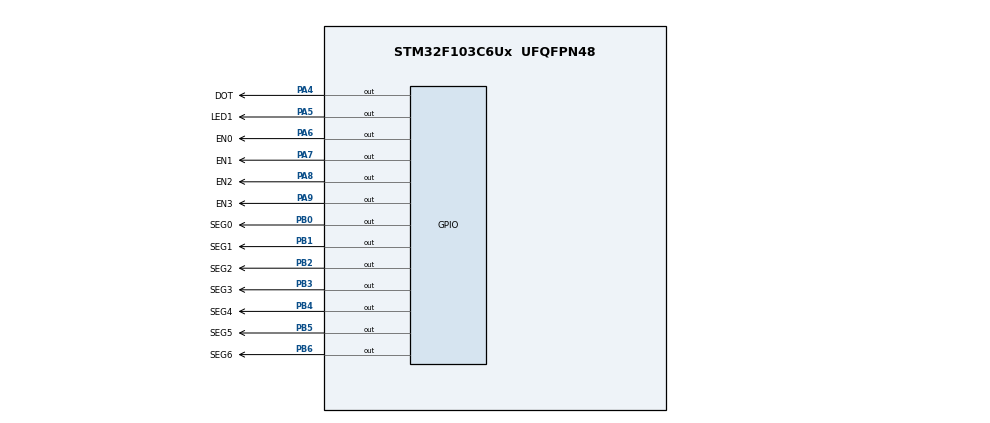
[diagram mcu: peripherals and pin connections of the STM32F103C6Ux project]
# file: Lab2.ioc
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Mcu.Family=STM32F1
Mcu.Name=STM32F103C6Ux
Mcu.Package=UFQFPN48
NVIC.PriorityGroup=NVIC_PRIORITYGROUP_4
NVIC.TIM2_IRQn=true\:0\:0\:false\:false\:true\:true\:true
PA4.GPIO_Label=DOT
PA4.Signal=GPIO_Output
PA5.GPIO_Label=LED1
PA5.Signal=GPIO_Output
PA6.GPIO_Label=EN0
PA6.Signal=GPIO_Output
PA7.GPIO_Label=EN1
PA7.Signal=GPIO_Output
PA8.GPIO_Label=EN2
PA8.Signal=GPIO_Output
PA9.GPIO_Label=EN3
PA9.Signal=GPIO_Output
PB0.GPIO_Label=SEG0
PB0.Signal=GPIO_Output
PB1.GPIO_Label=SEG1
PB1.Signal=GPIO_Output
PB2.GPIO_Label=SEG2
PB2.Signal=GPIO_Output
PB3.GPIO_Label=SEG3
PB3.Signal=GPIO_Output
PB4.GPIO_Label=SEG4
PB4.Signal=GPIO_Output
PB5.GPIO_Label=SEG5
PB5.Signal=GPIO_Output
PB6.GPIO_Label=SEG6
PB6.Signal=GPIO_Output
ProjectManager.HeapSize=0x200
ProjectManager.StackSize=0x400
ProjectManager.TargetToolchain=STM32CubeIDE
RCC.APB1Freq_Value=8000000
RCC.APB2Freq_Value=8000000
TIM2.Period=9
TIM2.Prescaler=7999
VP_SYS_VS_ND.Mode=No_Debug
VP_TIM2_VS_ClockSourceINT.Mode=Internal
board=custom

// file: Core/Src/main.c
/* USER CODE BEGIN Header */
/**
  ******************************************************************************
  * @file           : main.c
  * @brief          : Main program body
  ******************************************************************************
  * @attention
  *
  * <h2><center>&copy; Copyright (c) 2024 STMicroelectronics.
  * All rights reserved.</center></h2>
  *
  * This software component is licensed by ST under BSD 3-Clause license,
  * the "License"; You may not use this file except in compliance with the
  * License. You may obtain a copy of the License at:
  *                        opensource.org/licenses/BSD-3-Clause
  *
  ******************************************************************************
  */
/* USER CODE END Header */
#include "main.h"

/* USER CODE BEGIN Includes */
#include "Software_timer.h"
#include "LED_BLINKED.h"

/* USER CODE END Includes */

TIM_HandleTypeDef htim2;

/* USER CODE BEGIN PV */
int hour = 12, minute = 9, second = 50;
/* USER CODE END PV */

void SystemClock_Config(void);
static void MX_GPIO_Init(void);
static void MX_TIM2_Init(void);

int main(void)
{

  /* MCU Configuration--------------------------------------------------------*/

  /* Reset of all peripherals, Initializes the Flash interface and the Systick. */
  HAL_Init();

  /* Configure the system clock */
  SystemClock_Config();

  /* Initialize all configured peripherals */
  MX_GPIO_Init();
  MX_TIM2_Init();
  /* USER CODE BEGIN 2 */
  HAL_TIM_Base_Start_IT(&htim2) ;

  /* USER CODE END 2 */

  /* Infinite loop */
  /* USER CODE BEGIN WHILE */
  setTimer1(100);
  setTimer2(100);
  HAL_GPIO_WritePin(DOT_GPIO_Port, DOT_Pin, SET);
  HAL_GPIO_WritePin(EN0_GPIO_Port, EN0_Pin, SET);
  HAL_GPIO_WritePin(EN1_GPIO_Port, EN1_Pin, SET);
  HAL_GPIO_WritePin(EN2_GPIO_Port, EN2_Pin, SET);
  HAL_GPIO_WritePin(EN3_GPIO_Port, EN3_Pin, SET);

  while (1)
  {
	 if(timer1_flag == 1){
		 setTimer1(100);
		 HAL_GPIO_TogglePin(DOT_GPIO_Port, DOT_Pin);
		 second++;
		 if(second >= 60){
			 second = 0;
			 minute++;
		 }
		 if(minute >= 60){
			 minute = 0;
			 hour++;
		 }
		 if(hour >= 24){
			 hour = 0;
		 }
	 }
	 if(timer2_flag == 1){
		 updateClockBuffer();\
		 setTimer2(25);
	 }
  }

    /* USER CODE END WHILE */

  }

void SystemClock_Config(void)
{
  RCC_OscInitTypeDef RCC_OscInitStruct = {0};
  RCC_ClkInitTypeDef RCC_ClkInitStruct = {0};

  /** Initializes the RCC Oscillators according to the specified parameters
  * in the RCC_OscInitTypeDef structure.
  */
  RCC_OscInitStruct.OscillatorType = RCC_OSCILLATORTYPE_HSI;
  RCC_OscInitStruct.HSIState = RCC_HSI_ON;
  RCC_OscInitStruct.HSICalibrationValue = RCC_HSICALIBRATION_DEFAULT;
  RCC_OscInitStruct.PLL.PLLState = RCC_PLL_NONE;
  if (HAL_RCC_OscConfig(&RCC_OscInitStruct) != HAL_OK)
  {
    Error_Handler();
  }
  /** Initializes the CPU, AHB and APB buses clocks
  */
  RCC_ClkInitStruct.ClockType = RCC_CLOCKTYPE_HCLK|RCC_CLOCKTYPE_SYSCLK
                              |RCC_CLOCKTYPE_PCLK1|RCC_CLOCKTYPE_PCLK2;
  RCC_ClkInitStruct.SYSCLKSource = RCC_SYSCLKSOURCE_HSI;
  RCC_ClkInitStruct.AHBCLKDivider = RCC_SYSCLK_DIV1;
  RCC_ClkInitStruct.APB1CLKDivider = RCC_HCLK_DIV1;
  RCC_ClkInitStruct.APB2CLKDivider = RCC_HCLK_DIV1;

  if (HAL_RCC_ClockConfig(&RCC_ClkInitStruct, FLASH_LATENCY_0) != HAL_OK)
  {
    Error_Handler();
  }
}

static void MX_TIM2_Init(void)
{

  TIM_ClockConfigTypeDef sClockSourceConfig = {0};
  TIM_MasterConfigTypeDef sMasterConfig = {0};

  htim2.Instance = TIM2;
  htim2.Init.Prescaler = 7999;
  htim2.Init.CounterMode = TIM_COUNTERMODE_UP;
  htim2.Init.Period = 9;
  htim2.Init.ClockDivision = TIM_CLOCKDIVISION_DIV1;
  htim2.Init.AutoReloadPreload = TIM_AUTORELOAD_PRELOAD_DISABLE;
  if (HAL_TIM_Base_Init(&htim2) != HAL_OK)
  {
    Error_Handler();
  }
  sClockSourceConfig.ClockSource = TIM_CLOCKSOURCE_INTERNAL;
  if (HAL_TIM_ConfigClockSource(&htim2, &sClockSourceConfig) != HAL_OK)
  {
    Error_Handler();
  }
  sMasterConfig.MasterOutputTrigger = TIM_TRGO_RESET;
  sMasterConfig.MasterSlaveMode = TIM_MASTERSLAVEMODE_DISABLE;
  if (HAL_TIMEx_MasterConfigSynchronization(&htim2, &sMasterConfig) != HAL_OK)
  {
    Error_Handler();
  }

}

static void MX_GPIO_Init(void)
{
  GPIO_InitTypeDef GPIO_InitStruct = {0};

  /* GPIO Ports Clock Enable */
  __HAL_RCC_GPIOA_CLK_ENABLE();
  __HAL_RCC_GPIOB_CLK_ENABLE();

  /*Configure GPIO pin Output Level */
  HAL_GPIO_WritePin(GPIOA, DOT_Pin|LED1_Pin|EN0_Pin|EN1_Pin
                          |EN2_Pin|EN3_Pin, GPIO_PIN_RESET);

  /*Configure GPIO pin Output Level */
  HAL_GPIO_WritePin(GPIOB, SEG0_Pin|SEG1_Pin|SEG2_Pin|SEG3_Pin
                          |SEG4_Pin|SEG5_Pin|SEG6_Pin, GPIO_PIN_RESET);

  /*Configure GPIO pins : DOT_Pin LED1_Pin EN0_Pin EN1_Pin
                           EN2_Pin EN3_Pin */
  GPIO_InitStruct.Pin = DOT_Pin|LED1_Pin|EN0_Pin|EN1_Pin
                          |EN2_Pin|EN3_Pin;
  GPIO_InitStruct.Mode = GPIO_MODE_OUTPUT_PP;
  GPIO_InitStruct.Pull = GPIO_NOPULL;
  GPIO_InitStruct.Speed = GPIO_SPEED_FREQ_LOW;
  HAL_GPIO_Init(GPIOA, &GPIO_InitStruct);

  /*Configure GPIO pins : SEG0_Pin SEG1_Pin SEG2_Pin SEG3_Pin
                           SEG4_Pin SEG5_Pin SEG6_Pin */
  GPIO_InitStruct.Pin = SEG0_Pin|SEG1_Pin|SEG2_Pin|SEG3_Pin
                          |SEG4_Pin|SEG5_Pin|SEG6_Pin;
  GPIO_InitStruct.Mode = GPIO_MODE_OUTPUT_PP;
  GPIO_InitStruct.Pull = GPIO_NOPULL;
  GPIO_InitStruct.Speed = GPIO_SPEED_FREQ_LOW;
  HAL_GPIO_Init(GPIOB, &GPIO_InitStruct);

}

/* USER CODE BEGIN 4 */
void HAL_TIM_PeriodElapsedCallback(TIM_HandleTypeDef *htim)
{
    timerRun();
  }
/* USER CODE END 4 */

void Error_Handler(void)
{
  __disable_irq();
  while (1)
  {
  }
}

/************************ (C) COPYRIGHT STMicroelectronics *****END OF FILE****/
